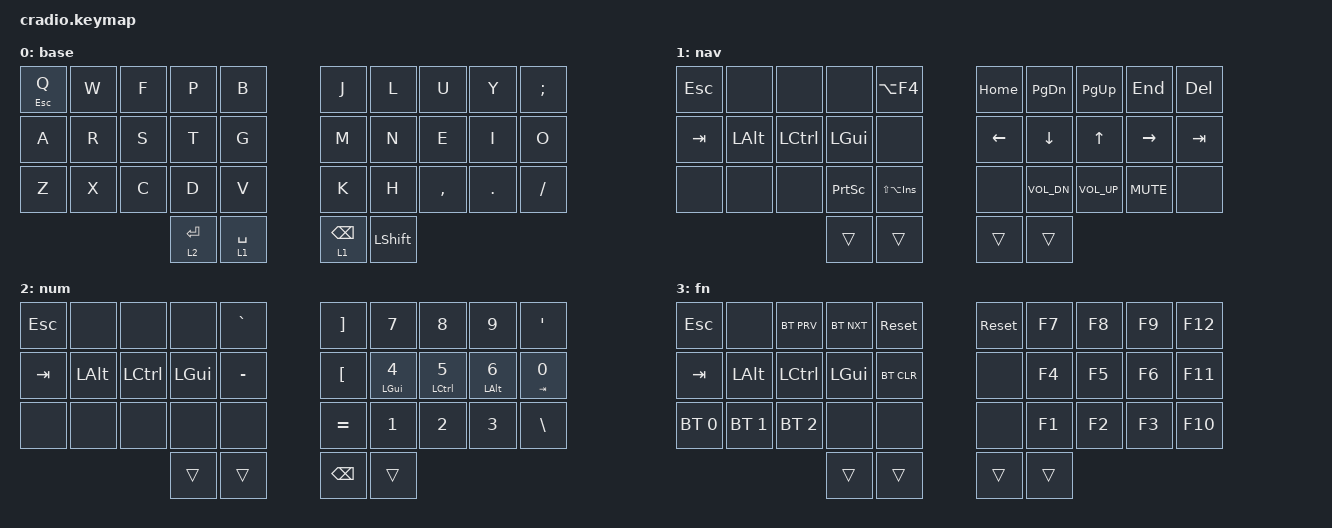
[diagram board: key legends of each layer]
// Copyright (c) 2022 The ZMK Contributors
// SPDX-License-Identifier: MIT

#include <behaviors.dtsi>
#include <dt-bindings/zmk/keys.h>
#include <dt-bindings/zmk/bt.h>

/ {
    behaviors {
        ht: hold_tap {
            label = "hold_tap";
            compatible = "zmk,behavior-hold-tap";
            #binding-cells = <2>;
            flavor = "tap-preferred";
            tapping-term-ms = <220>;
            quick-tap-ms = <150>;
            global-quick-tap;
            bindings = <&kp>, <&kp>;
        };
        pk: pinkies {
            compatible = "zmk,behavior-hold-tap";
            label = "ALPHA_MT_L";
            #binding-cells = <2>;
            tapping-term-ms = <250>;
            quick-tap-ms = <200>;
            flavor = "tap-preferred";
            global-quick-tap;
            bindings = <&kp>, <&kp>;
        };
    };

    conditional_layers {
        compatible = "zmk,conditional-layers";
        fn {
            if-layers = <1 2>;
            then-layer = <3>;
        };
    };


    keymap {
        compatible = "zmk,keymap";

        base {
            bindings = <
&mt ESC Q  &kp W       &kp F        &kp P       &kp B          &kp J            &kp L           &kp U        &kp Y       &kp SEMI
&kp A      &kp R       &kp S        &kp T       &kp G          &kp M            &kp N           &kp E        &kp I       &kp O
&kp Z      &kp X       &kp C        &kp D       &kp V          &kp K            &kp H           &kp COMMA    &kp PERIOD  &kp FSLH
                                    &lt 2 RET   &lt 1 SPACE    &lt 1 BACKSPACE  &kp LEFT_SHIFT
            >;
        };

        nav {
            bindings = <
&kp ESC  &none     &none      &none      &kp LA(F4)         &kp HOME  &kp PG_DN     &kp PG_UP     &kp END     &kp DEL
&kp TAB  &kp LALT  &kp LCTRL  &kp LGUI   &none              &kp LEFT  &kp DOWN      &kp UP        &kp RIGHT   &kp TAB
&none    &none     &none      &kp PSCRN  &kp LS(LA(INS))    &none     &kp C_VOL_DN  &kp C_VOL_UP  &kp C_MUTE  &none
                              &trans     &trans             &trans    &trans
            >;
        };

        num {
            bindings = <
&kp ESC  &none     &none      &none     &kp GRAVE    &kp RIGHT_BRACKET  &kp N7         &kp N8          &kp N9       &kp APOS
&kp TAB  &kp LALT  &kp LCTRL  &kp LGUI  &kp MINUS    &kp LEFT_BRACKET   &ht LGUI N4    &ht LCTRL N5    &ht LALT N6  &pk TAB N0
&none    &none     &none      &none     &none        &kp EQUAL          &kp N1         &kp N2          &kp N3       &kp BSLH
                              &trans    &trans       &kp BACKSPACE      &trans
            >;
        };

        fn {
            bindings = <
&kp ESC      &none         &bt BT_PRV     &bt BT_NXT    &sys_reset    &sys_reset    &kp F7  &kp F8  &kp F9  &kp F12
&kp TAB      &kp LALT      &kp LCTRL      &kp LGUI      &bt BT_CLR    &none         &kp F4  &kp F5  &kp F6  &kp F11
&bt BT_SEL 0 &bt BT_SEL 1  &bt BT_SEL 2   &none         &none         &none         &kp F1  &kp F2  &kp F3  &kp F10
                           &trans         &trans        &trans        &trans
            >;
        };
    };
};
